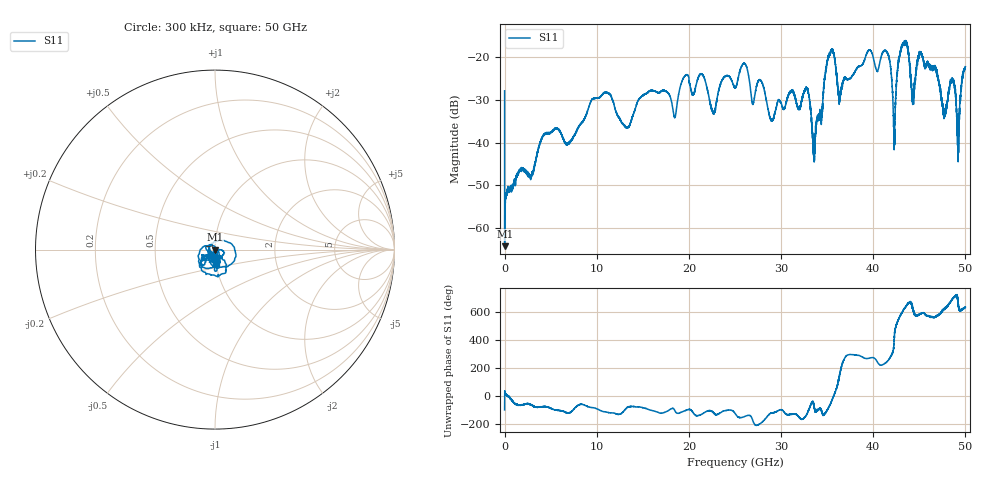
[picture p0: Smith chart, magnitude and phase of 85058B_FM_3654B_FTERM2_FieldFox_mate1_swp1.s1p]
!Created with skrf (http://scikit-rf.org).
# Hz S RI R 50.0
!freq ReS11 ImS11
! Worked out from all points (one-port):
!   10001 points, 300 kHz to 50 GHz, reference 50 ohm
!   lowest |S11| = -64.2 dB at 5.3 MHz (marker M1), VSWR 1.00, Z = 50 - j0.0431 ohm
!   |S11| at or under -10 dB: start of sweep to end of sweep
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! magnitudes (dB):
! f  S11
! 300 kHz  -27.9
! 5.3 MHz  -64.2
! 255.3 MHz  -51.4
! 6.25 GHz  -38.5
! 10.9 GHz  -28.2
! 12.5 GHz  -34.5
! 18.75 GHz  -30.4
! 19.69 GHz  -24.2
! 22.64 GHz  -33.2
! 25 GHz  -27.2
! 26.07 GHz  -21.5
! 28.99 GHz  -34.7
! 31.25 GHz  -28.0
! 32.85 GHz  -27.5
! 33.58 GHz  -43.5
! 35.33 GHz  -19.0
! 36.34 GHz  -29.6
! 37.5 GHz  -25.1
! 41.36 GHz  -18.5
! 42.29 GHz  -38.3
! 42.96 GHz  -18.9
! 43.75 GHz  -18.0
! 44.29 GHz  -30.3
! 45.18 GHz  -19.0
! 47.71 GHz  -33.8
! 48.64 GHz  -25.3
! 49.21 GHz  -39.5
! 50 GHz  -22.3
